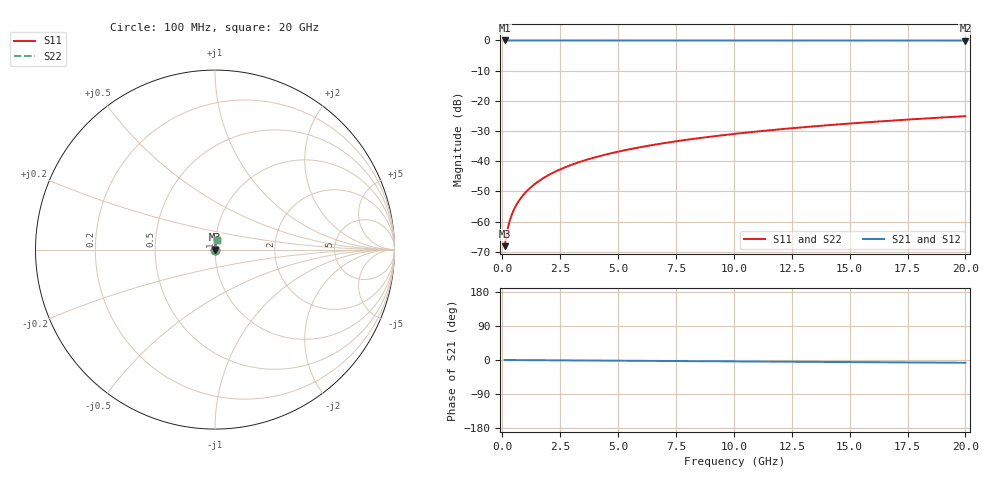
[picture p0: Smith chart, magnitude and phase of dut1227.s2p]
! Touchstone file exported from HFSS 2026.1.0
!  File:  C:/ffzhzh/LocalFiles/Ansys_Project_Files/temp_train_TSV_1227_1783193180_51560.aedt
!  Generated:  03:28:07 AM Jul  5, 2026
!  Design:  TSV
!  Project:  temp_train_TSV_1227_1783193180_51560
! Variables:
!  h_bsmrdl = 2um
!  h_ox = 20um
!  h_rdl = 5um
!  h_sub = 60.83um
!  h_tmrdl = 5um
!  h_tsv = 60.83um
!  h_via = 3um
!  l_bsmrdl = 300um
!  l_sub = 411.86um
!  l_tmrdl = 200um
!  m_sub = 200um
!  pitch = 45.32um
!  r_tsv = 5.93um
!  s_tmrdl = 10um
!  w_bsmrdl = 18um
!  w_sub = 500um
!  w_tmrdl = 12um
!  x_tsv_center1 = 206um
!  x_tsv_center2 = 524um
!  x_tsv_center3 = 736um
!  x_tsv_center4 = 1054um
!  x_tsv_center5 = 1266um
!  x_tsv_center6 = 1584um
# GHz S MA R 50.000000
! Terminal data exported
! Port[1] = TSV1_1_T1
! Port[2] = TSV1_1_T2
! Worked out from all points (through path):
!   200 points, 100 MHz to 20 GHz, reference 50 ohm
!   highest |S21| = 0.00 dB at 100 MHz (marker M1); lowest = 0.0 dB at 20 GHz (marker M2)
!   group delay of S21, straight-line fit = 1.01 ps
!   lowest |S11| = -68.1 dB at 100 MHz (marker M3), VSWR 1.00, Z = 50 + j0.0315 ohm
!   |S11| at or under -10 dB: start of sweep to end of sweep
!   |S22| runs from -68.1 to -25.1 dB; largest |S21 - S12| = 2.3e-15
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0.1  0.000392 53.5  0.9998 -0.0  0.9998 -0.0  0.000392 53.5
! Gamma 0 0 0 0
! Port Impedance 50 0 50 0
0.2  0.0006736 68.9  0.9998 -0.1  0.9998 -0.1  0.0006736 68.9
0.3  0.0009725 74.7  0.9997 -0.1  0.9997 -0.1  0.0009725 74.7
0.4  0.001273 77.6  0.9997 -0.2  0.9997 -0.2  0.001273 77.6
0.5  0.001572 79.3  0.9997 -0.2  0.9997 -0.2  0.001572 79.3
0.6  0.001868 80.4  0.9997 -0.2  0.9997 -0.2  0.001868 80.4
0.7  0.002162 81.2  0.9997 -0.3  0.9997 -0.3  0.002162 81.2
0.8  0.002453 81.8  0.9997 -0.3  0.9997 -0.3  0.002453 81.8
1  0.003033 82.7  0.9996 -0.4  0.9996 -0.4  0.003033 82.7
1.4  0.004184 83.8  0.9996 -0.5  0.9996 -0.5  0.004184 83.8
1.7  0.005045 84.4  0.9995 -0.6  0.9995 -0.6  0.005045 84.4
2  0.005904 84.7  0.9995 -0.7  0.9995 -0.7  0.005904 84.7
2.7  0.007903 85.1  0.9994 -1.0  0.9994 -1.0  0.007903 85.1
3.5  0.01018 85.3  0.9993 -1.3  0.9993 -1.3  0.01018 85.3
4.2  0.01215 85.3  0.9993 -1.6  0.9993 -1.6  0.01215 85.3
5  0.0144 85.2  0.9992 -1.8  0.9992 -1.8  0.0144 85.2
6.8  0.01942 84.9  0.9989 -2.5  0.9989 -2.5  0.01942 84.9
8.3  0.02359 84.6  0.9988 -3.1  0.9988 -3.1  0.02359 84.6
10.1  0.02857 84.2  0.9985 -3.7  0.9985 -3.7  0.02857 84.2
13.4  0.03768 83.3  0.9981 -4.9  0.9981 -4.9  0.03768 83.3
16.7  0.04673 82.3  0.9976 -6.1  0.9976 -6.1  0.04673 82.3
20  0.05573 81.2  0.997 -7.3  0.997 -7.3  0.05573 81.2
